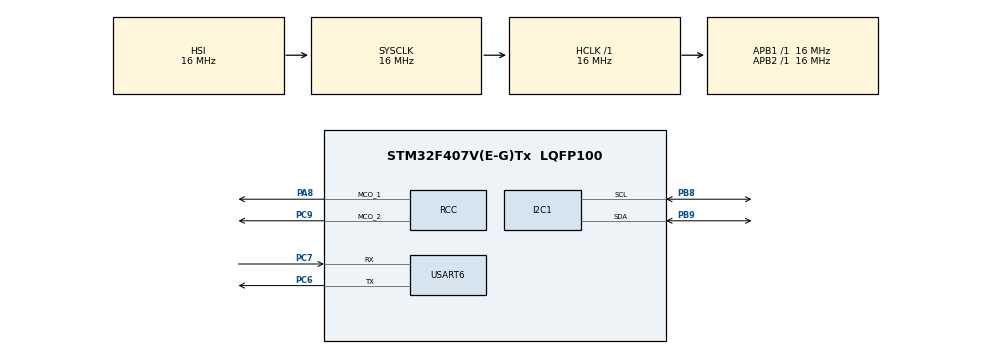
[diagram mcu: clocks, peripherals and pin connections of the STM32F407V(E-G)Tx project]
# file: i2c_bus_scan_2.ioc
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I2C1.AddressingMode=I2C_ADDRESSINGMODE_7BIT
I2C1.DualAddressMode=I2C_DUALADDRESS_ENABLE
I2C1.NoStretchMode=I2C_NOSTRETCH_DISABLE
Mcu.Family=STM32F4
Mcu.Name=STM32F407V(E-G)Tx
Mcu.Package=LQFP100
NVIC.PriorityGroup=NVIC_PRIORITYGROUP_4
PA13.Mode=Serial_Wire
PA13.Signal=SYS_JTMS-SWDIO
PA14.Mode=Serial_Wire
PA14.Signal=SYS_JTCK-SWCLK
PA8.Mode=Clock-out-1
PA8.Signal=RCC_MCO_1
PB8.Mode=I2C
PB8.Signal=I2C1_SCL
PB9.Mode=I2C
PB9.Signal=I2C1_SDA
PC14-OSC32_IN.Mode=LSE-External-Oscillator
PC14-OSC32_IN.Signal=RCC_OSC32_IN
PC15-OSC32_OUT.Mode=LSE-External-Oscillator
PC15-OSC32_OUT.Signal=RCC_OSC32_OUT
PC6.Mode=Asynchronous
PC6.Signal=USART6_TX
PC7.Mode=Asynchronous
PC7.Signal=USART6_RX
PC9.Mode=Clock-out-2
PC9.Signal=RCC_MCO_2
PH0-OSC_IN.Mode=HSE-External-Oscillator
PH0-OSC_IN.Signal=RCC_OSC_IN
PH1-OSC_OUT.Mode=HSE-External-Oscillator
PH1-OSC_OUT.Signal=RCC_OSC_OUT
ProjectManager.HeapSize=0x200
ProjectManager.StackSize=0x400
ProjectManager.TargetToolchain=STM32CubeIDE
RCC.AHBFreq_Value=16000000
RCC.APB1Freq_Value=16000000
RCC.APB2Freq_Value=16000000
RCC.CortexFreq_Value=16000000
RCC.HSE_VALUE=25000000
RCC.HSI_VALUE=16000000
RCC.SYSCLKFreq_VALUE=16000000
RCC.VCOOutputFreq_Value=192000000
USART6.VirtualMode=VM_ASYNC
board=custom

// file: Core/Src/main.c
/* USER CODE BEGIN Header */
/**
  ******************************************************************************
  * @file           : main.c
  * @brief          : Main program body
  ******************************************************************************
  * @attention
  *
  * Copyright (c) 2023 STMicroelectronics.
  * All rights reserved.
  *
  * This software is licensed under terms that can be found in the LICENSE file
  * in the root directory of this software component.
  * If no LICENSE file comes with this software, it is provided AS-IS.
  *
  ******************************************************************************
  */
/* USER CODE END Header */
#include "main.h"

/* USER CODE BEGIN Includes */
#include<stdio.h>
/* USER CODE END Includes */

I2C_HandleTypeDef hi2c1;

UART_HandleTypeDef huart6;

void SystemClock_Config(void);
static void MX_GPIO_Init(void);
static void MX_I2C1_Init(void);
static void MX_USART6_UART_Init(void);
/* USER CODE BEGIN PFP */
#define PUTCHAR_PROTOTYPE int __io_putchar(int ch)
/* USER CODE END PFP */

int main(void)
{

  /* MCU Configuration--------------------------------------------------------*/

  /* Reset of all peripherals, Initializes the Flash interface and the Systick. */
  HAL_Init();

  /* Configure the system clock */
  SystemClock_Config();

  /* Initialize all configured peripherals */
  MX_GPIO_Init();
  MX_I2C1_Init();
  MX_USART6_UART_Init();
  /* USER CODE BEGIN 2 */
  char uart2Data[24] = "Connected to UART Two\r\n";
    /*
     * Output to uart2
     * use screen or putty or whatever terminal software
     * 8N1 115200
     */
    HAL_UART_Transmit(&huart6, (uint8_t *)&uart2Data,sizeof(uart2Data), 0xFFFF);

  	printf("\r\n");

  	printf("Scanning I2C bus:\r\n");
 	HAL_StatusTypeDef result;
  	uint8_t i;
  	for (i=1; i<128; i++)
  	{
  	  /*
  	   * the HAL wants a left aligned i2c address
  	   * &hi2c1 is the handle
  	   * (uint16_t)(i<<1) is the i2c address left aligned
  	   * retries 2
  	   * timeout 2
  	   */
  	  result = HAL_I2C_IsDeviceReady(&hi2c1, (uint16_t)(i<<1), 4, 4);
  	  if (result != HAL_OK) // HAL_ERROR or HAL_BUSY or HAL_TIMEOUT
  	  {
  		  printf(" . "); // No ACK received at that address
  	  }
  	  if (result == HAL_OK)
  	  {
  		  printf(" 0x%X ", i); // Received an ACK at that address
  	  }
  	}
  	HAL_Delay(100);
  	printf("\r\n");

  /* USER CODE END 2 */

  /* Infinite loop */
  while (1)
  {

  }
}

void SystemClock_Config(void)
{
  RCC_OscInitTypeDef RCC_OscInitStruct = {0};
  RCC_ClkInitTypeDef RCC_ClkInitStruct = {0};

  /** Configure the main internal regulator output voltage
  */
  __HAL_RCC_PWR_CLK_ENABLE();
  __HAL_PWR_VOLTAGESCALING_CONFIG(PWR_REGULATOR_VOLTAGE_SCALE1);

  /** Initializes the RCC Oscillators according to the specified parameters
  * in the RCC_OscInitTypeDef structure.
  */
  RCC_OscInitStruct.OscillatorType = RCC_OSCILLATORTYPE_HSI;
  RCC_OscInitStruct.HSIState = RCC_HSI_ON;
  RCC_OscInitStruct.HSICalibrationValue = RCC_HSICALIBRATION_DEFAULT;
  RCC_OscInitStruct.PLL.PLLState = RCC_PLL_NONE;
  if (HAL_RCC_OscConfig(&RCC_OscInitStruct) != HAL_OK)
  {
    Error_Handler();
  }

  /** Initializes the CPU, AHB and APB buses clocks
  */
  RCC_ClkInitStruct.ClockType = RCC_CLOCKTYPE_HCLK|RCC_CLOCKTYPE_SYSCLK
                              |RCC_CLOCKTYPE_PCLK1|RCC_CLOCKTYPE_PCLK2;
  RCC_ClkInitStruct.SYSCLKSource = RCC_SYSCLKSOURCE_HSI;
  RCC_ClkInitStruct.AHBCLKDivider = RCC_SYSCLK_DIV1;
  RCC_ClkInitStruct.APB1CLKDivider = RCC_HCLK_DIV1;
  RCC_ClkInitStruct.APB2CLKDivider = RCC_HCLK_DIV1;

  if (HAL_RCC_ClockConfig(&RCC_ClkInitStruct, FLASH_LATENCY_0) != HAL_OK)
  {
    Error_Handler();
  }
  HAL_RCC_MCOConfig(RCC_MCO1, RCC_MCO1SOURCE_HSI, RCC_MCODIV_1);
  HAL_RCC_MCOConfig(RCC_MCO2, RCC_MCO2SOURCE_SYSCLK, RCC_MCODIV_1);
}

static void MX_I2C1_Init(void)
{

  hi2c1.Instance = I2C1;
  hi2c1.Init.ClockSpeed = 100000;
  hi2c1.Init.DutyCycle = I2C_DUTYCYCLE_2;
  hi2c1.Init.OwnAddress1 = 0;
  hi2c1.Init.AddressingMode = I2C_ADDRESSINGMODE_7BIT;
  hi2c1.Init.DualAddressMode = I2C_DUALADDRESS_ENABLE;
  hi2c1.Init.OwnAddress2 = 0;
  hi2c1.Init.GeneralCallMode = I2C_GENERALCALL_DISABLE;
  hi2c1.Init.NoStretchMode = I2C_NOSTRETCH_DISABLE;
  if (HAL_I2C_Init(&hi2c1) != HAL_OK)
  {
    Error_Handler();
  }

}

static void MX_USART6_UART_Init(void)
{

  huart6.Instance = USART6;
  huart6.Init.BaudRate = 115200;
  huart6.Init.WordLength = UART_WORDLENGTH_8B;
  huart6.Init.StopBits = UART_STOPBITS_1;
  huart6.Init.Parity = UART_PARITY_NONE;
  huart6.Init.Mode = UART_MODE_TX_RX;
  huart6.Init.HwFlowCtl = UART_HWCONTROL_NONE;
  huart6.Init.OverSampling = UART_OVERSAMPLING_16;
  if (HAL_UART_Init(&huart6) != HAL_OK)
  {
    Error_Handler();
  }

}

static void MX_GPIO_Init(void)
{
  GPIO_InitTypeDef GPIO_InitStruct = {0};

  /* GPIO Ports Clock Enable */
  __HAL_RCC_GPIOC_CLK_ENABLE();
  __HAL_RCC_GPIOH_CLK_ENABLE();
  __HAL_RCC_GPIOA_CLK_ENABLE();
  __HAL_RCC_GPIOB_CLK_ENABLE();

  /*Configure GPIO pin : PC9 */
  GPIO_InitStruct.Pin = GPIO_PIN_9;
  GPIO_InitStruct.Mode = GPIO_MODE_AF_PP;
  GPIO_InitStruct.Pull = GPIO_NOPULL;
  GPIO_InitStruct.Speed = GPIO_SPEED_FREQ_LOW;
  GPIO_InitStruct.Alternate = GPIO_AF0_MCO;
  HAL_GPIO_Init(GPIOC, &GPIO_InitStruct);

  /*Configure GPIO pin : PA8 */
  GPIO_InitStruct.Pin = GPIO_PIN_8;
  GPIO_InitStruct.Mode = GPIO_MODE_AF_PP;
  GPIO_InitStruct.Pull = GPIO_NOPULL;
  GPIO_InitStruct.Speed = GPIO_SPEED_FREQ_LOW;
  GPIO_InitStruct.Alternate = GPIO_AF0_MCO;
  HAL_GPIO_Init(GPIOA, &GPIO_InitStruct);

}

/* USER CODE BEGIN 4 */
#ifdef __GNUC__
  /* With GCC/RAISONANCE, small printf (option LD Linker->Libraries->Small printf
     set to 'Yes') calls __io_putchar() */
  #define PUTCHAR_PROTOTYPE int __io_putchar(int ch)
#else
  #define PUTCHAR_PROTOTYPE int fputc(int ch, FILE *f)
#endif /* __GNUC__ */
/**
  * @brief  Retargets the C library printf function to the USART.
  * @param  None
  * @retval None
  */
PUTCHAR_PROTOTYPE
{
  /* Place your implementation of fputc here */
  /* e.g. write a character to the EVAL_COM1 and Loop until the end of transmission */
  HAL_UART_Transmit(&huart6, (uint8_t *)&ch, 1, 0xFFFF);  //make changes in the &huart 1,2,3,... accordingly
  return ch;
}

/* USER CODE END 4 */

void Error_Handler(void)
{
  __disable_irq();
  while (1)
  {
  }
}
